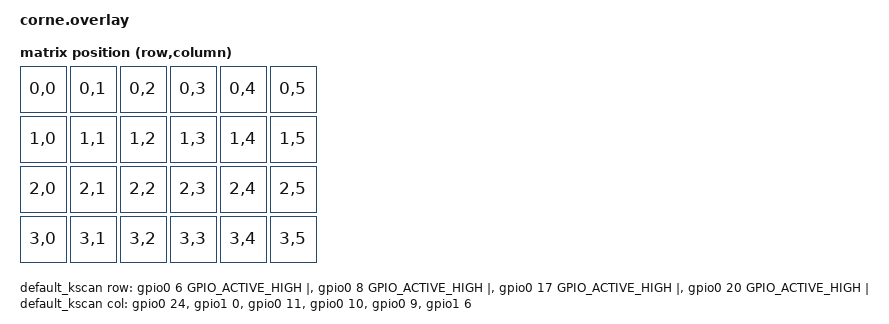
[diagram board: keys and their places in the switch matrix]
#include < dt-bindings/zmk/matrix_transform.h>

/ {
    chosen {
        zmk,kscan = &default_kscan;
        zmk,matrix_transform = &default_transform;
    };

    default_kscan: kscan {
        compatible = "zmk,kscan-gpio-matrix";
        label = "default_kscan";
        diode-direction = "col2row";

        /* Row pins — CHANGE to your actual wiring */
        row-gpios = <&gpio0 6  GPIO_ACTIVE_HIGH | GPIO_PULL_DOWN>,  /* Row 0 */
                    <&gpio0 8  GPIO_ACTIVE_HIGH | GPIO_PULL_DOWN>,  /* Row 1 */
                    <&gpio0 17 GPIO_ACTIVE_HIGH | GPIO_PULL_DOWN>,  /* Row 2 */
                    <&gpio0 20 GPIO_ACTIVE_HIGH | GPIO_PULL_DOWN>;  /* Row 3 */

        /* Column pins — CHANGE to your actual wiring */
        col-gpios = <&gpio0 24 GPIO_ACTIVE_HIGH>,  /* Col 0 */
                    <&gpio1 0  GPIO_ACTIVE_HIGH>,  /* Col 1 */
                    <&gpio0 11 GPIO_ACTIVE_HIGH>,  /* Col 2 */
                    <&gpio0 10 GPIO_ACTIVE_HIGH>,  /* Col 3 */
                    <&gpio0 9  GPIO_ACTIVE_HIGH>,  /* Col 4 */
                    <&gpio1 6  GPIO_ACTIVE_HIGH>;  /* Col 5 */
    };

    default_transform: matrix_transform {
        compatible = "zmk,matrix-transform";
        rows = <4>;
        columns = <6>;
        map = <
            RC(0,0) RC(0,1) RC(0,2) RC(0,3) RC(0,4) RC(0,5)
            RC(1,0) RC(1,1) RC(1,2) RC(1,3) RC(1,4) RC(1,5)
            RC(2,0) RC(2,1) RC(2,2) RC(2,3) RC(2,4) RC(2,5)
            RC(3,0) RC(3,1) RC(3,2) RC(3,3) RC(3,4) RC(3,5)
        >;
    };
};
